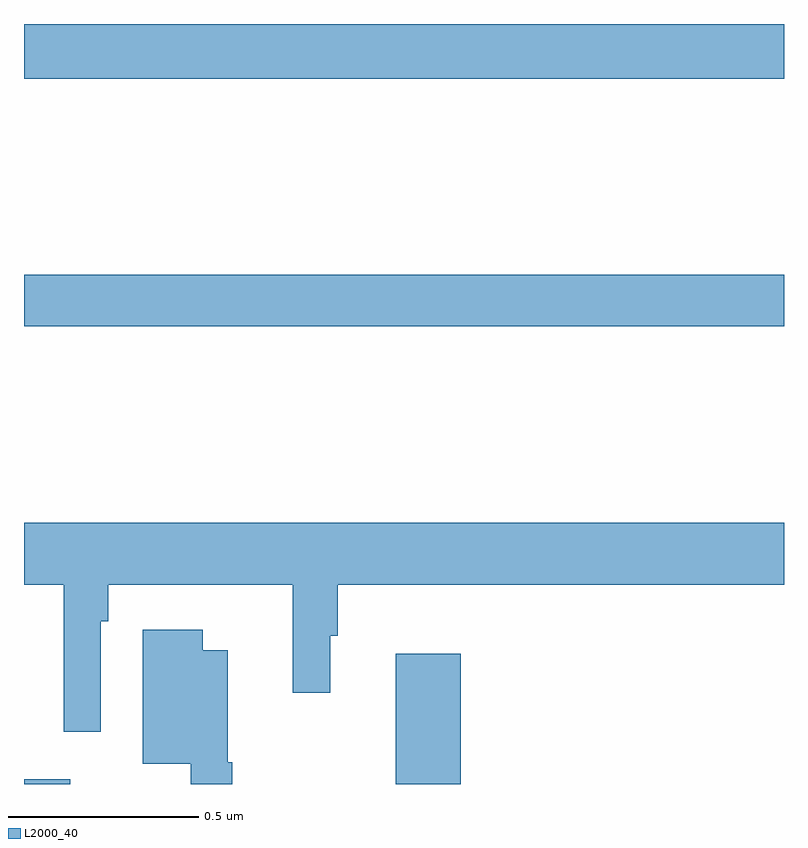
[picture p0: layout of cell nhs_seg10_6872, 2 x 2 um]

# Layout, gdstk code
import gdstk
lib = gdstk.Library(unit=1e-6, precision=1e-09)
def R(c, l, rs):  # rectangles x0, y0, x1, y1
    for r in rs: c.add(gdstk.rectangle(r[:2], r[2:], *l))
def P(c, l, *ps):  # polygons
    for p in ps: c.add(gdstk.Polygon(p, *l))
L2000_40 = (2000, 40)

nhs_seg10_6872 = lib.new_cell('nhs_seg10_6872')
R(nhs_seg10_6872, L2000_40, [(197,1258.5,197.122,1258.513), (197.978,1258.5,198.149,1258.843), (197,1259.704,199,1259.84), (197,1260.356,199,1260.5)])
P(nhs_seg10_6872, L2000_40, [(197.202,1258.928),(197.222,1258.928),(197.222,1259.024),(197.707,1259.024),(197.707,1258.74),(197.806,1258.74),(197.806,1258.89),(197.825,1258.89),(197.825,1259.024),(199,1259.024),(199,1259.188),(197,1259.188),(197,1259.024),(197.105,1259.024),(197.105,1258.638),(197.202,1258.638)],
  [(197.548,1258.557),(197.536,1258.557),(197.536,1258.852),(197.47,1258.852),(197.47,1258.906),(197.312,1258.906),(197.312,1258.553),(197.439,1258.553),(197.439,1258.5),(197.548,1258.5)])

lib.write_gds('nhs_seg10_6872.gds')
